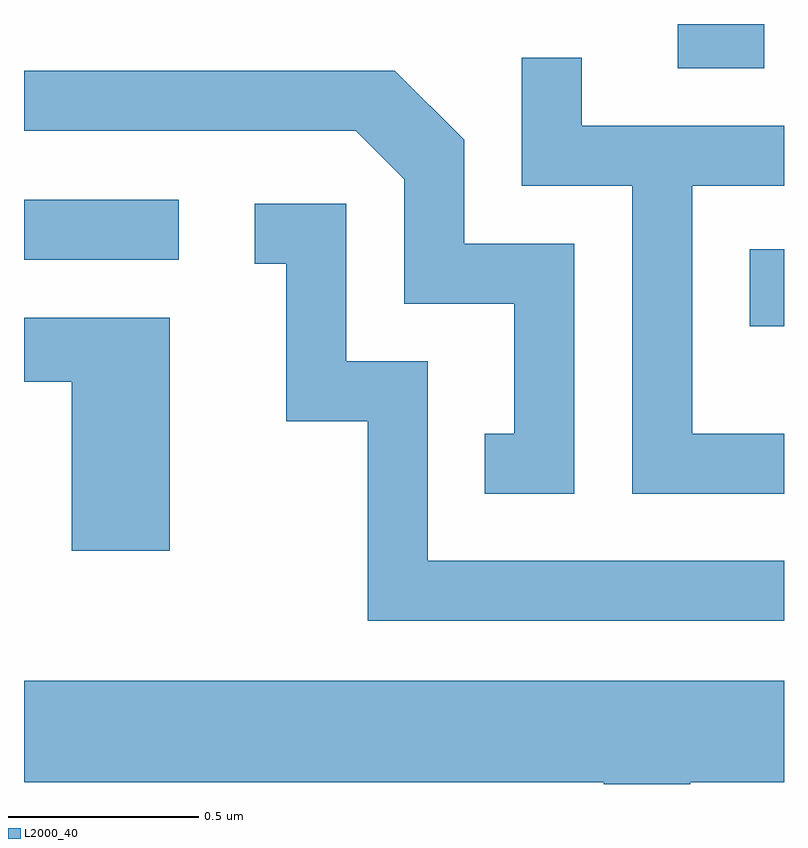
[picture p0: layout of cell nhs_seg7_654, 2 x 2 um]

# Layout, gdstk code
import gdstk
lib = gdstk.Library(unit=1e-6, precision=1e-09)
def R(c, l, rs):  # rectangles x0, y0, x1, y1
    for r in rs: c.add(gdstk.rectangle(r[:2], r[2:], *l))
def P(c, l, *ps):  # polygons
    for p in ps: c.add(gdstk.Polygon(p, *l))
L2000_40 = (2000, 40)

nhs_seg7_654 = lib.new_cell('nhs_seg7_654')
R(nhs_seg7_654, L2000_40, [(191.521,1775.456,191.611,1775.659), (189.611,1775.631,190.018,1775.789), (191.331,1776.136,191.559,1776.252)])
P(nhs_seg7_654, L2000_40, [(191.611,1775.174),(191.369,1775.174),(191.369,1775.826),(191.611,1775.826),(191.611,1775.984),(191.079,1775.984),(191.079,1776.163),(190.921,1776.163),(190.921,1775.826),(191.211,1775.826),(191.211,1775.016),(191.611,1775.016)],
  [(191.059,1775.674),(190.769,1775.674),(190.769,1775.947),(190.587,1776.129),(189.611,1776.129),(189.611,1775.971),(190.484,1775.971),(190.611,1775.844),(190.611,1775.516),(190.901,1775.516),(190.901,1775.174),(190.823,1775.174),(190.823,1775.016),(191.059,1775.016)],
  [(191.611,1774.839),(190.674,1774.839),(190.674,1775.364),(190.459,1775.364),(190.459,1775.779),(190.218,1775.779),(190.218,1775.621),(190.301,1775.621),(190.301,1775.206),(190.516,1775.206),(190.516,1774.681),(191.611,1774.681)],
  [(189.994,1775.479),(189.611,1775.479),(189.611,1775.311),(189.736,1775.311),(189.736,1774.866),(189.994,1774.866)],
  [(191.364,1774.256),(191.611,1774.256),(191.611,1774.524),(189.611,1774.524),(189.611,1774.256),(191.136,1774.256),(191.136,1774.252),(191.364,1774.252)])

lib.write_gds('nhs_seg7_654.gds')
